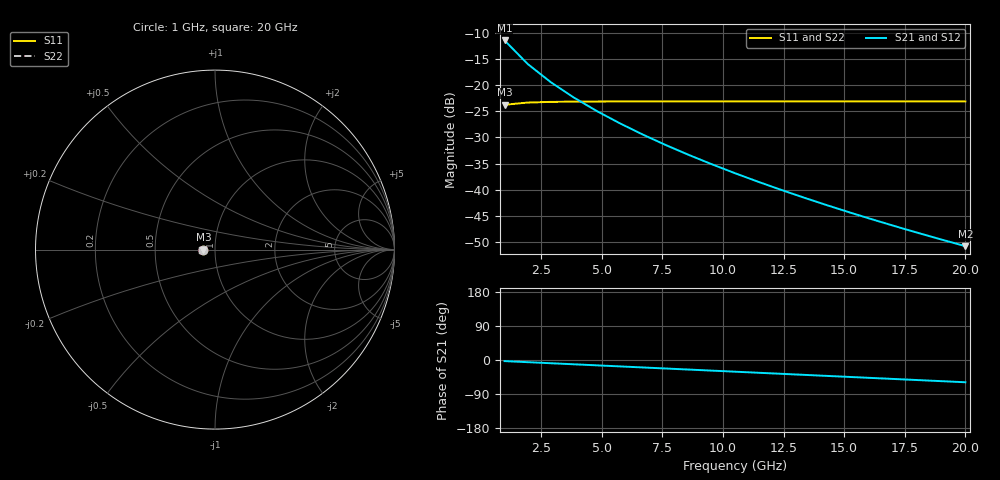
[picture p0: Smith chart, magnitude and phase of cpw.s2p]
# HZ S RI R 50
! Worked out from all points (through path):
!   21 points, 1 GHz to 20 GHz, reference 50 ohm
!   highest |S21| = -11.40 dB at 1 GHz (marker M1); lowest = -50.8 dB at 20 GHz (marker M2)
!   group delay of S21, straight-line fit = 8.16 ps
!   lowest |S11| = -23.7 dB at 1 GHz (marker M3), VSWR 1.14, Z = 43.9 - j0.0461 ohm
!   |S11| at or under -10 dB: start of sweep to end of sweep
!   |S22| runs from -23.7 to -23.1 dB; largest |S21 - S12| = 0
1e9  -0.0651 -0.000523  0.2689 -0.0138  0.2689 -0.0138  -0.0651 -0.000523
1.95e9  -0.0684 -0.00036  0.1595 -0.016  0.1595 -0.016  -0.0684 -0.00036
2.9e9  -0.0694 -0.000238  0.1062 -0.0159  0.1062 -0.0159  -0.0694 -0.000238
3.85e9  -0.0698 -0.000159  0.075 -0.015  0.075 -0.015  -0.0698 -0.000159
4.8e9  -0.0699 -0.000107  0.055 -0.0138  0.055 -0.0138  -0.0699 -0.000107
5.75e9  -0.07 -7.33e-05  0.0414 -0.0126  0.0414 -0.0126  -0.07 -7.33e-05
6.7e9  -0.0701 -5.08e-05  0.0317 -0.0114  0.0317 -0.0114  -0.0701 -5.08e-05
7.65e9  -0.0701 -3.56e-05  0.0247 -0.0102  0.0247 -0.0102  -0.0701 -3.56e-05
8.6e9  -0.0701 -2.51e-05  0.0194 -0.00917  0.0194 -0.00917  -0.0701 -2.51e-05
9.55e9  -0.0701 -1.79e-05  0.0154 -0.00822  0.0154 -0.00822  -0.0701 -1.79e-05
1.05e10  -0.0701 -1.28e-05  0.0123 -0.00737  0.0123 -0.00737  -0.0701 -1.28e-05
1.145e10  -0.0701 -9.23e-06  0.00992 -0.0066  0.00992 -0.0066  -0.0701 -9.23e-06
1.24e10  -0.0701 -6.67e-06  0.00801 -0.00591  0.00801 -0.00591  -0.0701 -6.67e-06
1.335e10  -0.0701 -4.84e-06  0.00649 -0.00529  0.00649 -0.00529  -0.0701 -4.84e-06
1.43e10  -0.0701 -3.52e-06  0.00526 -0.00474  0.00526 -0.00474  -0.0701 -3.52e-06
1.525e10  -0.0701 -2.56e-06  0.00428 -0.00424  0.00428 -0.00424  -0.0701 -2.56e-06
1.62e10  -0.0701 -1.86e-06  0.00348 -0.0038  0.00348 -0.0038  -0.0701 -1.86e-06
1.715e10  -0.0701 -1.36e-06  0.00282 -0.00341  0.00282 -0.00341  -0.0701 -1.36e-06
1.81e10  -0.0701 -9.85e-07  0.00229 -0.00305  0.00229 -0.00305  -0.0701 -9.85e-07
1.905e10  -0.0701 -7.14e-07  0.00185 -0.00274  0.00185 -0.00274  -0.0701 -7.14e-07
2e10  -0.0701 -5.15e-07  0.00149 -0.00245  0.00149 -0.00245  -0.0701 -5.15e-07
